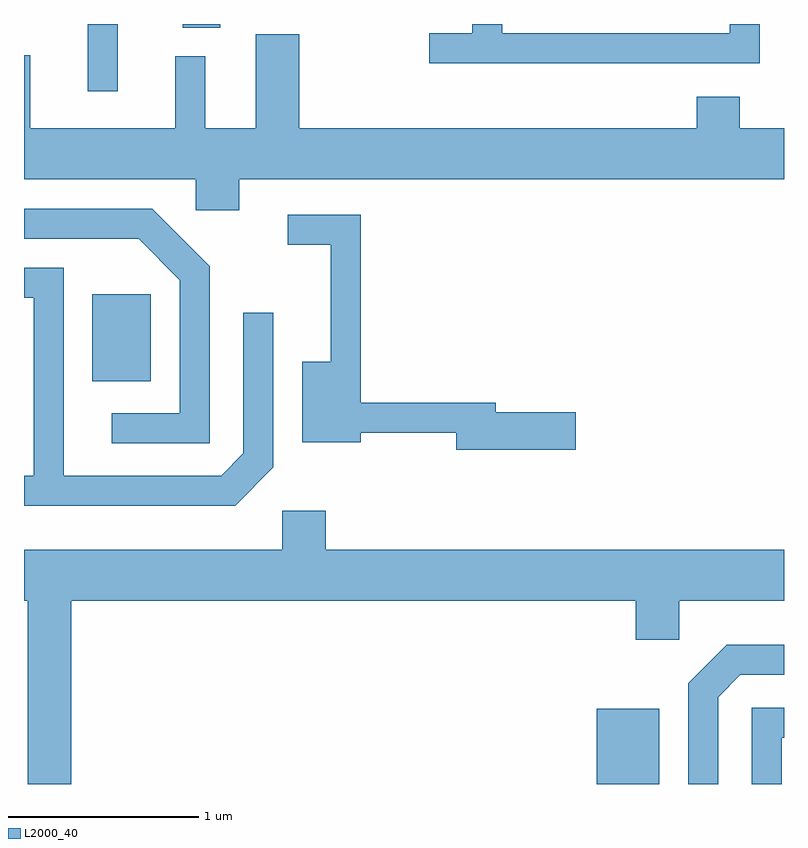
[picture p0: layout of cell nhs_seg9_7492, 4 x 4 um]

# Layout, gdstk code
import gdstk
lib = gdstk.Library(unit=1e-6, precision=1e-09)
def R(c, l, rs):  # rectangles x0, y0, x1, y1
    for r in rs: c.add(gdstk.rectangle(r[:2], r[2:], *l))
def P(c, l, *ps):  # polygons
    for p in ps: c.add(gdstk.Polygon(p, *l))
L2000_40 = (2000, 40)

nhs_seg9_7492 = lib.new_cell('nhs_seg9_7492')
R(nhs_seg9_7492, L2000_40, [(410.626,1966.432,410.954,1966.829), (407.971,1968.551,408.279,1969.009), (407.946,1970.078,408.104,1970.432), (408.446,1970.411,408.644,1970.432)])
P(nhs_seg9_7492, L2000_40, [(411.484,1970.432),(411.326,1970.432),(411.326,1970.384),(410.129,1970.384),(410.129,1970.432),(409.971,1970.432),(409.971,1970.384),(409.743,1970.384),(409.743,1970.226),(411.484,1970.226)],
  [(408.744,1969.616),(411.611,1969.616),(411.611,1969.884),(411.379,1969.884),(411.379,1970.049),(411.151,1970.049),(411.151,1969.884),(409.059,1969.884),(409.059,1970.379),(408.831,1970.379),(408.831,1969.884),(408.564,1969.884),(408.564,1970.263),(408.406,1970.263),(408.406,1969.884),(407.644,1969.884),(407.644,1970.268),(407.611,1970.268),(407.611,1969.616),(408.516,1969.616),(408.516,1969.451),(408.744,1969.451)],
  [(408.589,1969.157),(408.287,1969.459),(407.611,1969.459),(407.611,1969.301),(408.214,1969.301),(408.431,1969.084),(408.431,1968.384),(408.073,1968.384),(408.073,1968.226),(408.589,1968.226)],
  [(410.514,1968.389),(410.094,1968.389),(410.094,1968.439),(409.384,1968.439),(409.384,1969.429),(408.998,1969.429),(408.998,1969.271),(409.226,1969.271),(409.226,1968.654),(409.076,1968.654),(409.076,1968.231),(409.384,1968.231),(409.384,1968.281),(409.886,1968.281),(409.886,1968.191),(410.514,1968.191)],
  [(408.924,1968.099),(408.924,1968.913),(408.766,1968.913),(408.766,1968.172),(408.649,1968.054),(407.819,1968.054),(407.819,1969.149),(407.611,1969.149),(407.611,1968.991),(407.661,1968.991),(407.661,1968.054),(407.611,1968.054),(407.611,1967.896),(408.722,1967.896)],
  [(407.859,1967.396),(410.831,1967.396),(410.831,1967.191),(411.059,1967.191),(411.059,1967.396),(411.611,1967.396),(411.611,1967.664),(409.199,1967.664),(409.199,1967.869),(408.971,1967.869),(408.971,1967.664),(407.611,1967.664),(407.611,1967.396),(407.631,1967.396),(407.631,1966.432),(407.859,1966.432)],
  [(411.264,1966.889),(411.382,1967.006),(411.611,1967.006),(411.611,1967.164),(411.309,1967.164),(411.106,1966.962),(411.106,1966.432),(411.264,1966.432)],
  [(411.599,1966.676),(411.611,1966.676),(411.611,1966.834),(411.441,1966.834),(411.441,1966.432),(411.599,1966.432)])

lib.write_gds('nhs_seg9_7492.gds')
